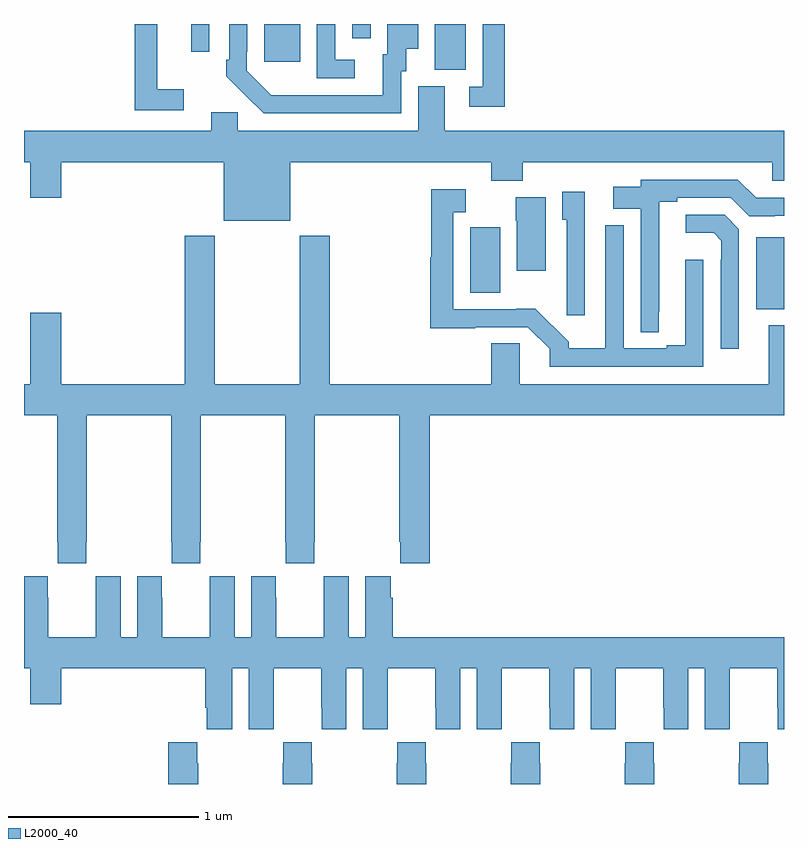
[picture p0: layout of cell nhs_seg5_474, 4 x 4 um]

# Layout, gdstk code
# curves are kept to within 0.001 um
import gdstk
lib = gdstk.Library(unit=1e-6, precision=1e-09)
def R(c, l, rs):  # rectangles x0, y0, x1, y1
    for r in rs: c.add(gdstk.rectangle(r[:2], r[2:], *l))
def P(c, l, *ps):  # polygons
    for p in ps: c.add(gdstk.Polygon(p, *l))
L2000_40 = (2000, 40)

nhs_seg5_474 = lib.new_cell('nhs_seg5_474')
R(nhs_seg5_474, L2000_40, [(144.854,877.298,145,877.677), (143.348,877.384,143.506,877.729), (143.162,878.557,143.326,878.799), (142.265,878.601,142.453,878.799), (141.879,878.652,141.975,878.799), (142.728,878.724,142.824,878.799)])
P(nhs_seg5_474, L2000_40, [(143.531,878.799),(143.415,878.799),(143.415,878.469),(143.343,878.469),(143.343,878.364),(143.531,878.364)],
  [(142.986,878.55),(143.011,878.55),(143.011,878.669),(143.074,878.669),(143.074,878.799),(142.913,878.799),(142.913,878.64),(142.889,878.64),(142.889,878.424),(142.302,878.425),(142.173,878.553),(142.173,878.653),(142.176,878.653),(142.176,878.799),(142.08,878.799),(142.08,878.611),(142.065,878.611),(142.065,878.523),(142.262,878.328),(142.986,878.328)],
  [(141.841,878.455),(141.701,878.455),(141.701,878.799),(141.583,878.799),(141.583,878.346),(141.841,878.346)],
  [(142.741,878.61),(142.638,878.61),(142.638,878.799),(142.542,878.799),(142.542,878.514),(142.741,878.514)],
  [(142.402,878.072),(143.459,878.072),(143.459,877.973),(143.624,877.973),(143.624,878.072),(144.938,878.072),(144.938,877.973),(145,877.973),(145,878.236),(143.215,878.236),(143.215,878.472),(143.075,878.472),(143.075,878.236),(142.125,878.236),(142.125,878.334),(141.986,878.334),(141.986,878.236),(141,878.236),(141,878.072),(141.032,878.072),(141.032,877.884),(141.196,877.884),(141.196,878.072),(142.052,878.072),(142.052,877.763),(142.402,877.763)],
  [(144.342,877.285),(144.343,877.864),(144.439,877.864),(144.439,877.884),(144.72,877.884),(144.816,877.788),(144.952,877.788),(144.952,877.79),(145,877.79),(145,877.884),(144.853,877.884),(144.757,877.98),(144.246,877.98),(144.246,877.942),(144.102,877.942),(144.102,877.826),(144.246,877.826),(144.246,877.177),(144.342,877.177)],
  [(144.576,877.558),(144.479,877.558),(144.479,877.107),(144.383,877.107),(144.383,877.092),(144.156,877.092),(144.156,877.741),(144.06,877.741),(144.06,877.093),(143.866,877.093),(143.866,877.127),(143.692,877.301),(143.591,877.301),(143.591,877.299),(143.259,877.299),(143.259,877.809),(143.326,877.809),(143.326,877.93),(143.143,877.93),(143.143,877.572),(143.139,877.572),(143.139,877.198),(143.375,877.198),(143.375,877.203),(143.652,877.203),(143.766,877.09),(143.766,876.996),(144.576,876.996)],
  [(143.952,877.915),(143.834,877.915),(143.834,877.77),(143.856,877.77),(143.856,877.266),(143.952,877.266)],
  [(143.746,877.888),(143.588,877.888),(143.588,877.764),(143.594,877.764),(143.594,877.5),(143.746,877.5)],
  [(144.762,877.719),(144.687,877.794),(144.483,877.794),(144.483,877.7),(144.629,877.7),(144.669,877.659),(144.669,877.559),(144.666,877.559),(144.666,877.089),(144.762,877.089)],
  [(142.61,877.684),(142.45,877.684),(142.45,876.904),(142.005,876.904),(142.005,877.684),(141.845,877.684),(141.845,876.904),(141.196,876.904),(141.196,877.279),(141.032,877.279),(141.032,876.904),(141,876.904),(141,876.74),(141.175,876.74),(141.175,876.073),(141.177,876.073),(141.177,875.961),(141.327,875.961),(141.327,876.073),(141.33,876.073),(141.33,876.74),(141.775,876.74),(141.775,876.073),(141.777,876.073),(141.777,875.961),(141.927,875.961),(141.927,876.073),(141.93,876.073),(141.93,876.74),(142.375,876.74),(142.375,876.073),(142.377,876.073),(142.377,875.961),(142.527,875.961),(142.527,876.073),(142.53,876.073),(142.53,876.74),(142.975,876.74),(142.975,876.073),(142.981,876.073),(142.981,875.961),(143.135,875.961),(143.135,876.74),(145,876.74),(145,877.213),(144.92,877.213),(144.92,876.904),(143.61,876.904),(143.61,877.118),(143.459,877.118),(143.459,876.904),(142.61,876.904)],
  [(142.94,875.78),(142.93,875.78),(142.93,875.893),(142.796,875.893),(142.796,875.572),(142.708,875.572),(142.708,875.893),(142.578,875.893),(142.578,875.78),(142.577,875.78),(142.577,875.572),(142.327,875.572),(142.327,875.78),(142.326,875.78),(142.326,875.893),(142.196,875.893),(142.196,875.572),(142.108,875.572),(142.108,875.893),(141.978,875.893),(141.978,875.78),(141.977,875.78),(141.977,875.572),(141.727,875.572),(141.727,875.78),(141.726,875.78),(141.726,875.893),(141.596,875.893),(141.596,875.572),(141.508,875.572),(141.508,875.893),(141.378,875.893),(141.378,875.78),(141.377,875.78),(141.377,875.572),(141.127,875.572),(141.127,875.78),(141.126,875.78),(141.126,875.893),(141,875.893),(141,875.408),(141.032,875.408),(141.032,875.22),(141.196,875.22),(141.196,875.408),(141.953,875.408),(141.953,875.2),(141.962,875.2),(141.962,875.088),(142.096,875.088),(142.096,875.408),(142.184,875.408),(142.184,875.088),(142.314,875.088),(142.314,875.2),(142.315,875.2),(142.315,875.408),(142.565,875.408),(142.565,875.2),(142.566,875.2),(142.566,875.088),(142.696,875.088),(142.696,875.408),(142.784,875.408),(142.784,875.088),(142.914,875.088),(142.914,875.2),(142.915,875.2),(142.915,875.408),(143.165,875.408),(143.165,875.2),(143.166,875.2),(143.166,875.088),(143.296,875.088),(143.296,875.408),(143.384,875.408),(143.384,875.088),(143.514,875.088),(143.514,875.2),(143.515,875.2),(143.515,875.408),(143.765,875.408),(143.765,875.2),(143.766,875.2),(143.766,875.088),(143.896,875.088),(143.896,875.408),(143.984,875.408),(143.984,875.088),(144.114,875.088),(144.114,875.2),(144.115,875.2),(144.115,875.408),(144.365,875.408),(144.365,875.2),(144.366,875.2),(144.366,875.088),(144.496,875.088),(144.496,875.408),(144.584,875.408),(144.584,875.088),(144.714,875.088),(144.714,875.2),(144.715,875.2),(144.715,875.408),(144.965,875.408),(144.965,875.2),(144.966,875.2),(144.966,875.088),(145,875.088),(145,875.572),(142.94,875.572)],
  [(144.918,874.907),(144.915,874.907),(144.915,875.02),(144.765,875.02),(144.765,874.907),(144.763,874.907),(144.763,874.799),(144.918,874.799)],
  [(141.918,874.907),(141.911,874.907),(141.911,875.02),(141.758,875.02),(141.758,874.799),(141.918,874.799)],
  [(144.318,874.907),(144.315,874.907),(144.315,875.02),(144.165,875.02),(144.165,874.907),(144.163,874.907),(144.163,874.799),(144.318,874.799)],
  [(142.518,874.907),(142.515,874.907),(142.515,875.02),(142.365,875.02),(142.365,874.907),(142.363,874.907),(142.363,874.799),(142.518,874.799)],
  [(143.118,874.907),(143.115,874.907),(143.115,875.02),(142.965,875.02),(142.965,874.907),(142.963,874.907),(142.963,874.799),(143.118,874.799)],
  [(143.718,874.907),(143.715,874.907),(143.715,875.02),(143.565,875.02),(143.565,874.907),(143.563,874.907),(143.563,874.799),(143.718,874.799)])

lib.write_gds('nhs_seg5_474.gds')
